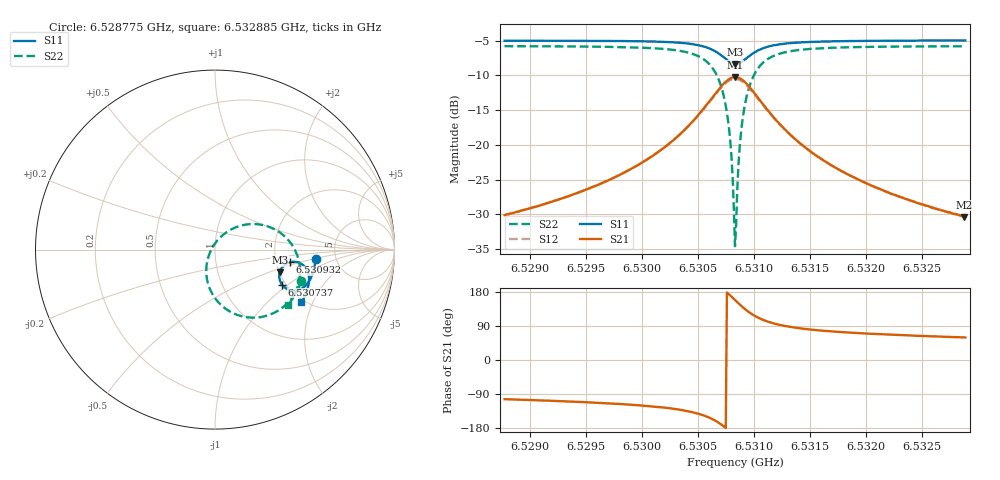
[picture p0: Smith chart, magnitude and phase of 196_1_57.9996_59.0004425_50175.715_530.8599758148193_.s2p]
#  HZ  S  RI  R  50.00
! Rohde & Schwarz Vector Network Analyzer
! Rohde-Schwarz,ZNB20-2Port,1311601062101988,3.16
! Created: UTC 3/21/2024, 12:59:02 AM
! freq[Hz]  re:S11  im:S11  re:S21  im:S21  re:S12  im:S12  re:S22  im:S22
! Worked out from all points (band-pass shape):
!   401 points, 6.528775 GHz to 6.532885 GHz, reference 50 ohm
!   highest |S21| = -10.25 dB at 6.53083 GHz (marker M1); lowest = -30.4 dB at 6.532874 GHz (marker M2)
!   |S21| within 3 dB of the highest: 6.530625 GHz to 6.531036 GHz (411.5 kHz wide, 0.0063 % of centre)
!   lowest |S11| = -8.4 dB at 6.53083 GHz (marker M3), VSWR 2.24, Z = 101 - j29.6 ohm
!   |S11| at or under -10 dB: nowhere
!   |S22| runs from -34.6 to -5.8 dB; largest |S21 - S12| = 0.012
!   S11 on the Smith chart (normalised r, x): 6.528775 GHz: 3.49, -0.51; 6.530737 GHz: 1.91, -0.91; 6.530932 GHz: 2.37, -0.41; 6.532885 GHz: 1.92, -1.66
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6.5287749e9  0.5603 -0.0499  -0.00728 -0.0303  -0.00782 -0.0302  0.4818 -0.1777
6.5294632e9  0.5512 -0.1075  -0.0165 -0.0433  -0.0176 -0.043  0.4499 -0.2411
6.5301516e9  0.5241 -0.1767  -0.0503 -0.0743  -0.0525 -0.0728  0.3671 -0.3298
6.5303879e9  0.4975 -0.2071  -0.0902 -0.0938  -0.0929 -0.0908  0.2859 -0.3689
6.5305626e9  0.454 -0.2272  -0.1584 -0.1005  -0.1608 -0.0938  0.1595 -0.3739
6.5306653e9  0.409 -0.2223  -0.2282 -0.0741  -0.2274 -0.0643  0.0426 -0.3165
6.5307372e9  0.3738 -0.1955  -0.2795 -0.0154  -0.2738 -0.00525  -0.0329 -0.2081
6.5307783e9  0.3603 -0.1676  -0.2956 0.0376  -0.2866 0.0459  -0.0489 -0.1171
6.5307886e9  0.3585 -0.1595  -0.2967 0.0525  -0.2868 0.0601  -0.0476 -0.0925
6.5308194e9  0.3588 -0.1342  -0.2909 0.0983  -0.2799 0.103  -0.0291 -0.0188
6.5308297e9  0.3607 -0.1258  -0.2857 0.1132  -0.2747 0.1167  -0.0181 0.00449
6.53084e9  0.3634 -0.1175  -0.2795 0.1274  -0.2683 0.1302  -0.00496 0.0266
6.5308502e9  0.367 -0.1098  -0.2717 0.1409  -0.2607 0.1427  0.0102 0.0472
6.5308708e9  0.3766 -0.0958  -0.2527 0.1651  -0.2423 0.1651  0.046 0.0829
6.5308913e9  0.3883 -0.0844  -0.2304 0.1844  -0.2209 0.1831  0.0866 0.1105
6.5309324e9  0.4152 -0.0706  -0.1812 0.2076  -0.1743 0.2047  0.1715 0.1393
6.5310044e9  0.4583 -0.07  -0.1059 0.2099  -0.1022 0.2068  0.2982 0.1278
6.5311071e9  0.4963 -0.0916  -0.0409 0.1789  -0.039 0.1773  0.4028 0.0594
6.5315181e9  0.524 -0.171  0.0153 0.0865  0.0165 0.0863  0.4735 -0.1338
6.5322064e9  0.507 -0.2425  0.0177 0.0415  0.0186 0.0413  0.4439 -0.2499
6.5328743e9  0.4823 -0.2932  0.0154 0.0261  0.016 0.0259  0.4093 -0.3089
6.5328845e9  0.4819 -0.294  0.0154 0.0262  0.016 0.0258  0.409 -0.3093
